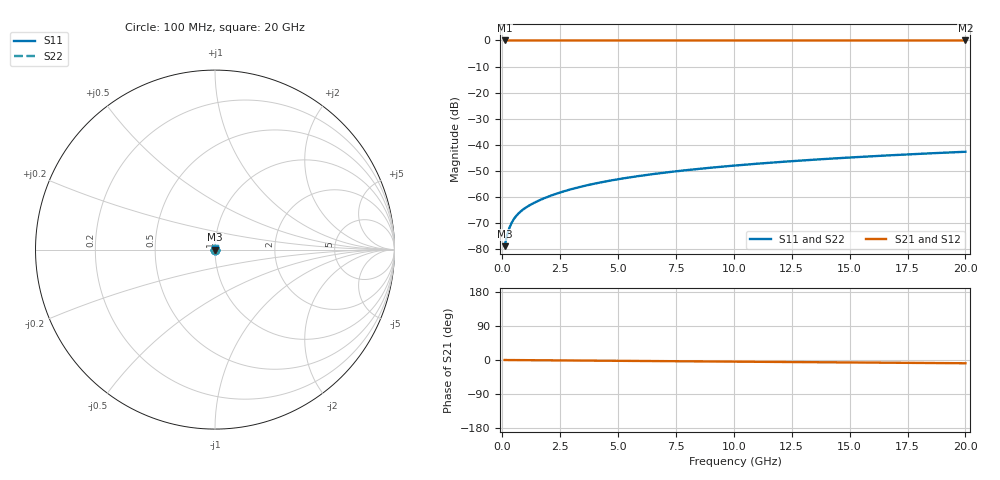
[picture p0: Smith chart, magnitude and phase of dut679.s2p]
! Touchstone file exported from HFSS 2026.1.0
!  File:  C:/ffzhzh/LocalFiles/Ansys_Project_Files/temp_train_TSV_679_1783027329_55676.aedt
!  Generated:  05:23:31 AM Jul  3, 2026
!  Design:  TSV
!  Project:  temp_train_TSV_679_1783027329_55676
! Variables:
!  h_bsmrdl = 2um
!  h_ox = 20um
!  h_rdl = 5um
!  h_sub = 83.55um
!  h_tmrdl = 5um
!  h_tsv = 83.55um
!  h_via = 3um
!  l_bsmrdl = 300um
!  l_sub = 427.54um
!  l_tmrdl = 200um
!  m_sub = 200um
!  pitch = 57.76um
!  r_tsv = 13.77um
!  s_tmrdl = 10um
!  w_bsmrdl = 18um
!  w_sub = 500um
!  w_tmrdl = 12um
!  x_tsv_center1 = 206um
!  x_tsv_center2 = 524um
!  x_tsv_center3 = 736um
!  x_tsv_center4 = 1054um
!  x_tsv_center5 = 1266um
!  x_tsv_center6 = 1584um
# GHz S MA R 50.000000
! Terminal data exported
! Port[1] = TSV1_1_T1
! Port[2] = TSV1_1_T2
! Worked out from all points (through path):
!   200 points, 100 MHz to 20 GHz, reference 50 ohm
!   highest |S21| = 0.00 dB at 100 MHz (marker M1); lowest = 0.0 dB at 20 GHz (marker M2)
!   group delay of S21, straight-line fit = 1.19 ps
!   lowest |S11| = -79.0 dB at 100 MHz (marker M3), VSWR 1.00, Z = 50 + j0.0078 ohm
!   |S11| at or under -10 dB: start of sweep to end of sweep
!   |S22| runs from -79.0 to -42.7 dB; largest |S21 - S12| = 1.2e-15
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0.1  0.0001125 43.9  0.9999 -0.0  0.9999 -0.0  0.0001125 43.9
! Gamma 0 0 0 0
! Port Impedance 50 0 50 0
0.2  0.0001793 58.1  0.9999 -0.1  0.9999 -0.1  0.0001793 58.1
0.3  0.0002483 62.6  0.9999 -0.1  0.9999 -0.1  0.0002483 62.6
0.4  0.0003133 64.0  0.9999 -0.2  0.9999 -0.2  0.0003133 64.0
0.5  0.000373 64.4  0.9998 -0.2  0.9998 -0.2  0.000373 64.4
0.6  0.0004275 64.5  0.9998 -0.3  0.9998 -0.3  0.0004275 64.5
0.7  0.0004778 64.6  0.9998 -0.3  0.9998 -0.3  0.0004778 64.6
0.9  0.0005693 65.0  0.9998 -0.4  0.9998 -0.4  0.0005693 65.0
1.1  0.0006536 65.7  0.9997 -0.5  0.9997 -0.5  0.0006536 65.7
1.4  0.0007742 67.0  0.9997 -0.6  0.9997 -0.6  0.0007741 67.0
2  0.00101 69.5  0.9997 -0.9  0.9997 -0.9  0.00101 69.5
2.7  0.001286 71.4  0.9996 -1.2  0.9996 -1.2  0.001286 71.4
3.5  0.001598 72.8  0.9996 -1.5  0.9996 -1.5  0.001598 72.8
4.2  0.001866 73.5  0.9995 -1.8  0.9995 -1.8  0.001866 73.5
5  0.002167 74.0  0.9995 -2.2  0.9995 -2.2  0.002167 74.0
5.9  0.002499 74.4  0.9994 -2.5  0.9994 -2.5  0.002499 74.4
6.8  0.002825 74.6  0.9994 -2.9  0.9994 -2.9  0.002825 74.6
8.3  0.003359 74.9  0.9993 -3.6  0.9993 -3.6  0.003359 74.8
10.1  0.003989 74.9  0.9992 -4.3  0.9992 -4.3  0.003989 74.9
13.4  0.005123 74.7  0.9991 -5.8  0.9991 -5.8  0.005123 74.7
16.7  0.006228 74.1  0.999 -7.2  0.999 -7.2  0.006229 74.0
20  0.0073 73.2  0.9989 -8.6  0.9989 -8.6  0.0073 73.2
